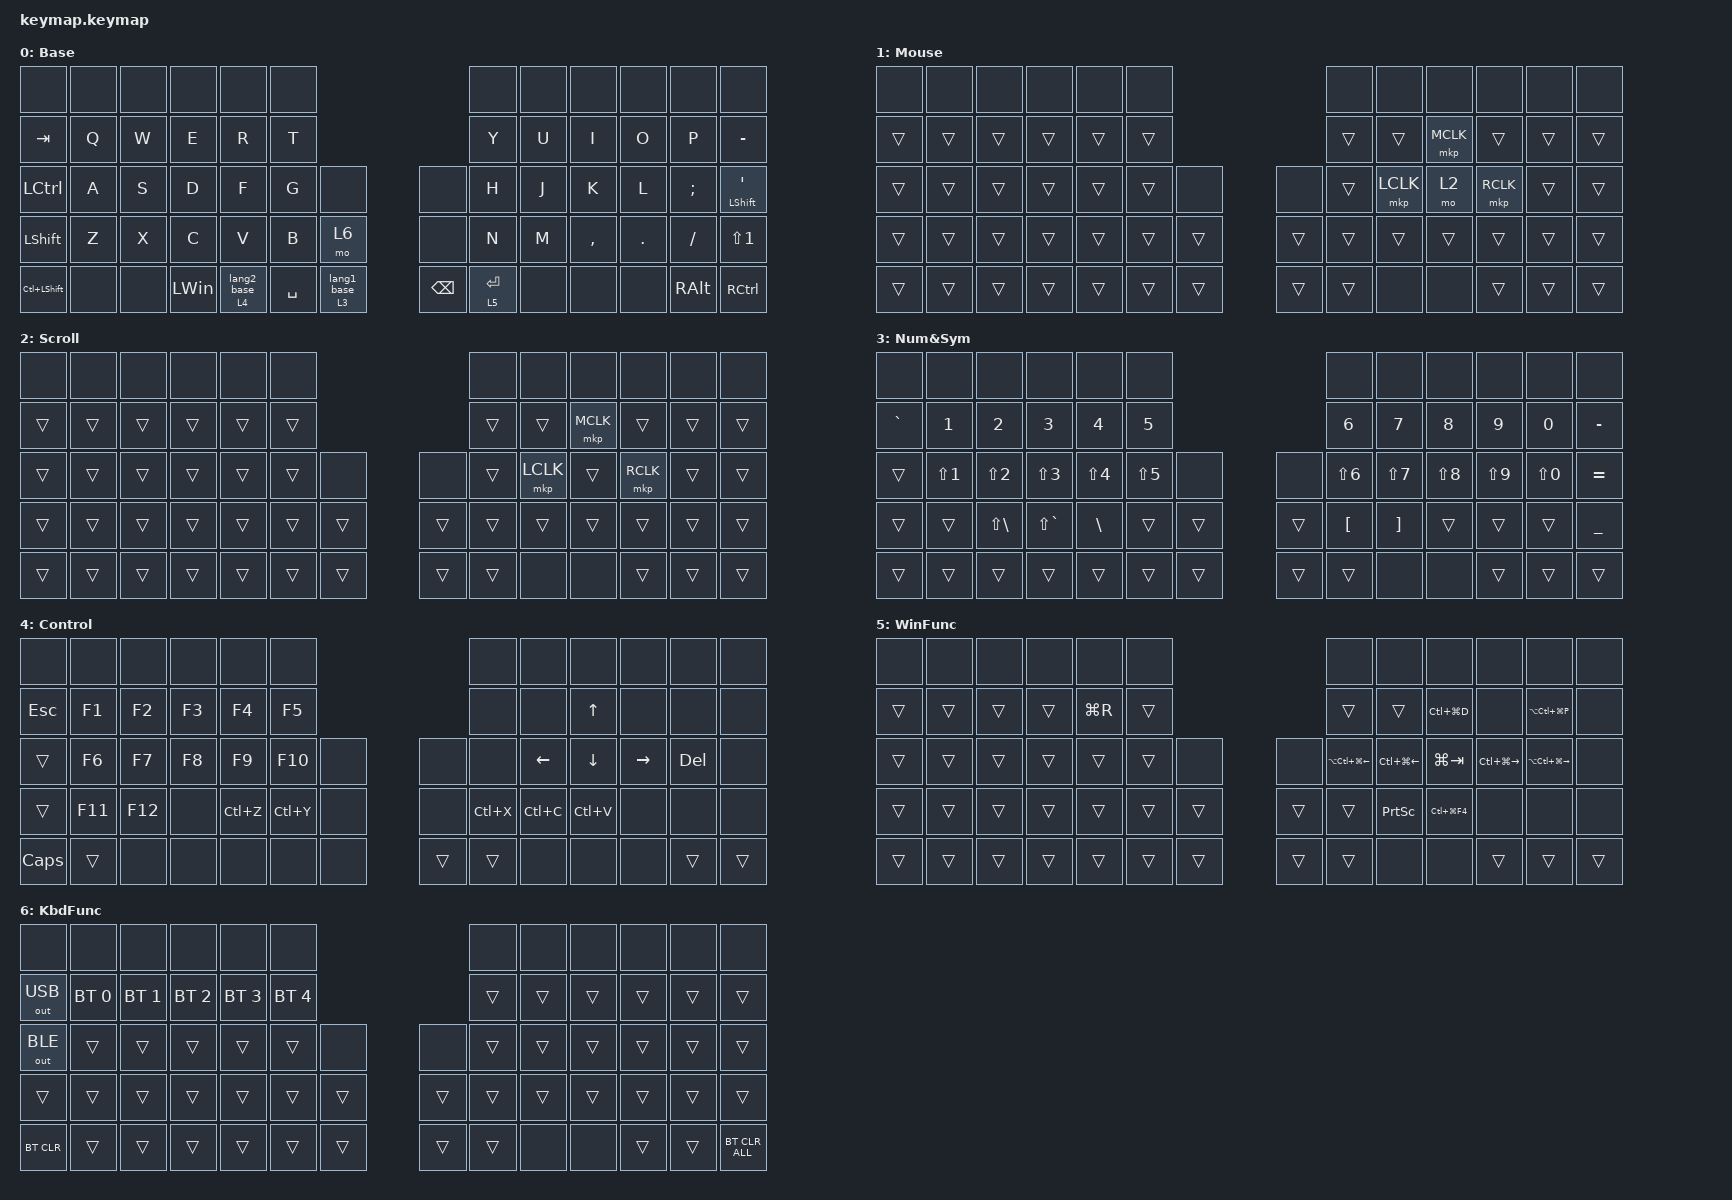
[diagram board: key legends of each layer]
#include <behaviors.dtsi>
#include <dt-bindings/zmk/bt.h>
#include <dt-bindings/zmk/keys.h>
#include <dt-bindings/zmk/outputs.h>
#include <dt-bindings/zmk/pointing.h>

#include <input/processors.dtsi>

/ {
    macros {
        lang1_base: lang1_base {
            compatible = "zmk,behavior-macro";
            #binding-cells = <0>;
            bindings = <&kp LANG1>, <&to 0>;
        };

        lang2_base: lang2_base {
            compatible = "zmk,behavior-macro";
            #binding-cells = <0>;
            bindings = <&kp LANG2>, <&to 0>;
        };
    };

    behaviors {
        lt_lang1_base: lt_lang1_base {
            compatible = "zmk,behavior-hold-tap";
            #binding-cells = <2>;
            flavor = "tap-preferred";
            tapping-term-ms = <200>;
            bindings = <&mo>, <&lang1_base>;
        };

        lt_lang2_base: lt_lang2_base {
            compatible = "zmk,behavior-hold-tap";
            #binding-cells = <2>;
            flavor = "tap-preferred";
            tapping-term-ms = <200>;
            bindings = <&mo>, <&lang2_base>;
        };
    };

    keymap {
        compatible = "zmk,keymap";

        layer_0 {
            display-name = "Base";
            bindings = <
&none          &none  &none  &none     &none               &none                                        &none        &none     &none      &none    &none      &none
&kp TAB        &kp Q  &kp W  &kp E     &kp R               &kp T                                        &kp Y        &kp U     &kp I      &kp O    &kp P      &kp MINUS
&kp LCTRL      &kp A  &kp S  &kp D     &kp F               &kp G      &none                   &none     &kp H        &kp J     &kp K      &kp L    &kp SEMI   &mt LSHFT SQT
&kp LSHFT      &kp Z  &kp X  &kp C     &kp V               &kp B      &mo 6                   &none     &kp N        &kp M     &kp COMMA  &kp DOT  &kp SLASH  &kp LS(N1)
&kp LC(LSHFT)  &none  &none  &kp LWIN  &lt_lang2_base 4 0  &kp SPACE  &lt_lang1_base 3 0      &kp BSPC  &lt 5 ENTER  &none     &none      &none    &kp RALT   &kp RCTRL
            >;
        };

        layer_1 {
            display-name = "Mouse";
            bindings = <
&none   &none   &none   &none   &none   &none                       &none   &none      &none      &none      &none   &none
&trans  &trans  &trans  &trans  &trans  &trans                      &trans  &trans     &mkp MCLK  &trans     &trans  &trans
&trans  &trans  &trans  &trans  &trans  &trans  &none       &none   &trans  &mkp LCLK  &mo 2      &mkp RCLK  &trans  &trans
&trans  &trans  &trans  &trans  &trans  &trans  &trans      &trans  &trans  &trans     &trans     &trans     &trans  &trans
&trans  &trans  &trans  &trans  &trans  &trans  &trans      &trans  &trans  &none      &none      &trans     &trans  &trans
            >;
        };

        layer_2 {
            display-name = "Scroll";
            bindings = <
&none   &none   &none   &none   &none   &none                       &none   &none      &none      &none      &none   &none
&trans  &trans  &trans  &trans  &trans  &trans                      &trans  &trans     &mkp MCLK  &trans     &trans  &trans
&trans  &trans  &trans  &trans  &trans  &trans  &none       &none   &trans  &mkp LCLK  &trans     &mkp RCLK  &trans  &trans
&trans  &trans  &trans  &trans  &trans  &trans  &trans      &trans  &trans  &trans     &trans     &trans     &trans  &trans
&trans  &trans  &trans  &trans  &trans  &trans  &trans      &trans  &trans  &none      &none      &trans     &trans  &trans
            >;
        };

        layer_3 {
            display-name = "Num&Sym";
            bindings = <
&none      &none       &none         &none          &none       &none                          &none       &none       &none       &none       &none       &none
&kp GRAVE  &kp N1      &kp N2        &kp N3         &kp N4      &kp N5                         &kp N6      &kp N7      &kp N8      &kp N9      &kp N0      &kp MINUS
&trans     &kp LS(N1)  &kp LS(N2)    &kp LS(N3)     &kp LS(N4)  &kp LS(N5) &none       &none   &kp LS(N6)  &kp LS(N7)  &kp LS(N8)  &kp LS(N9)  &kp LS(N0)  &kp EQUAL
&trans     &trans      &kp LS(BSLH)  &kp LS(GRAVE)  &kp BSLH    &trans     &trans      &trans  &kp LBKT    &kp RBKT    &trans      &trans      &trans      &kp UNDERSCORE
&trans     &trans      &trans        &trans         &trans      &trans     &trans      &trans  &trans      &none       &none       &trans      &trans      &trans
            >;
        };

        layer_4 {
            display-name = "Control";
            bindings = <
&none     &none    &none    &none   &none      &none                          &none      &none      &none      &none      &none       &none
&kp ESC   &kp F1   &kp F2   &kp F3  &kp F4     &kp F5                         &none      &none      &kp UP     &none      &none       &none 
&trans    &kp F6   &kp F7   &kp F8  &kp F9     &kp F10    &none       &none   &none      &kp LEFT   &kp DOWN   &kp RIGHT  &kp DELETE  &none 
&trans    &kp F11  &kp F12  &none   &kp LC(Z)  &kp LC(Y)  &none       &none   &kp LC(X)  &kp LC(C)  &kp LC(V)  &none      &none       &none 
&kp CAPS  &trans   &none    &none   &none      &none      &none       &trans  &trans     &none      &none      &none      &trans      &trans
            >;
        };

        layer_5 {
            display-name = "WinFunc";
            bindings = <
&none   &none   &none   &none   &none      &none                       &none                 &none             &none           &none              &none                  &none
&trans  &trans  &trans  &trans  &kp LG(R)  &trans                      &trans                &trans            &kp LC(LG(D))   &none              &kp LA(LC(LG(P)))      &none
&trans  &trans  &trans  &trans  &trans     &trans  &none       &none   &kp LA(LC(LG(LEFT)))  &kp LC(LG(LEFT))  &kp LG(TAB)     &kp LC(LG(RIGHT))  &kp LA(LC(LG(RIGHT)))  &none
&trans  &trans  &trans  &trans  &trans     &trans  &trans      &trans  &trans                &kp PRINTSCREEN   &kp LC(LG(F4))  &none              &none                  &none
&trans  &trans  &trans  &trans  &trans     &trans  &trans      &trans  &trans                &none             &none           &trans             &trans                 &trans
            >;
        };

        layer_6 {
            display-name = "KbdFunc";
            bindings = <
&none         &none         &none         &none         &none         &none                             &none   &none   &none   &none   &none   &none
&out OUT_USB  &bt BT_SEL 0  &bt BT_SEL 1  &bt BT_SEL 2  &bt BT_SEL 3  &bt BT_SEL 4                      &trans  &trans  &trans  &trans  &trans  &trans
&out OUT_BLE  &trans        &trans        &trans        &trans        &trans        &none       &none   &trans  &trans  &trans  &trans  &trans  &trans
&trans        &trans        &trans        &trans        &trans        &trans        &trans      &trans  &trans  &trans  &trans  &trans  &trans  &trans
&bt BT_CLR    &trans        &trans        &trans        &trans        &trans        &trans      &trans  &trans  &none   &none   &trans  &trans  &bt BT_CLR_ALL
            >;
        };
    };
};

/*
&none   &none   &none   &none   &none   &none                       &none   &none   &none   &none   &none   &none
&trans  &trans  &trans  &trans  &trans  &trans                      &trans  &trans  &trans  &trans  &trans  &trans
&trans  &trans  &trans  &trans  &trans  &trans  &none       &none   &trans  &trans  &trans  &trans  &trans  &trans
&trans  &trans  &trans  &trans  &trans  &trans  &trans      &trans  &trans  &trans  &trans  &trans  &trans  &trans
&trans  &trans  &trans  &trans  &trans  &trans  &trans      &trans  &trans  &none   &none   &trans  &trans  &trans
*/

&mkp_input_listener {
    input-processors = <&zip_temp_layer 1 900>;
};
